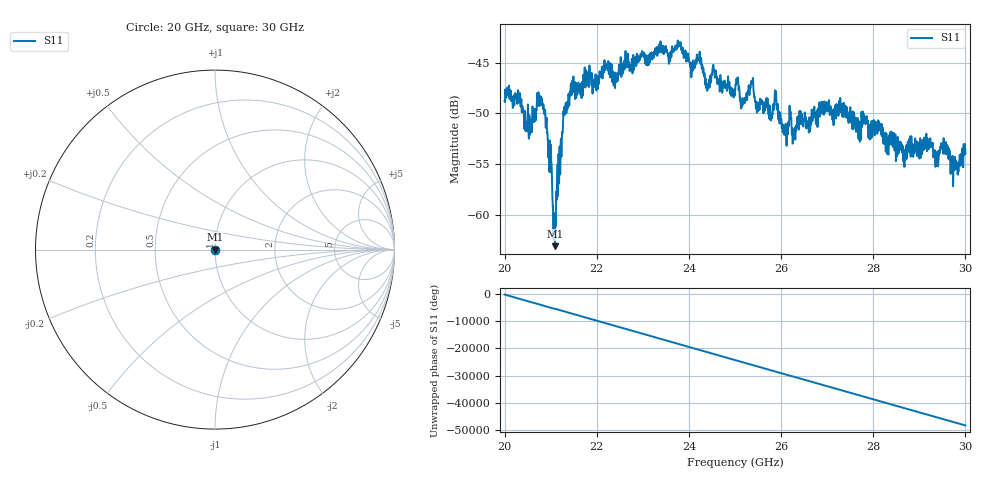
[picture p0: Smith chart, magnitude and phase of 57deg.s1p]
#  HZ  S  RI  R  50.00
! Rohde & Schwarz ZVA40 4Ports - Version 3.90 - 1145.1110k42 SN: 100403
! Date: 2023-10-03 12:03:40
! Measurement: S12
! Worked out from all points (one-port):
!   5001 points, 20 GHz to 30 GHz, reference 50 ohm
!   lowest |S11| = -63.1 dB at 21.09 GHz (marker M1), VSWR 1.00, Z = 50.1 + j0.0252 ohm
!   |S11| at or under -10 dB: start of sweep to end of sweep
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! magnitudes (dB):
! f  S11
! 20 GHz  -48.8
! 20.29 GHz  -48.0
! 20.5 GHz  -49.3
! 20.81 GHz  -48.5
! 20.96 GHz  -53.1
! 21.09 GHz  -63.1
! 21.25 GHz  -52.2
! 21.48 GHz  -47.9
! 22.5 GHz  -45.3
! 23.75 GHz  -43.3
! 24.06 GHz  -45.4
! 24.22 GHz  -44.6
! 24.4 GHz  -47.7
! 24.54 GHz  -45.6
! 25 GHz  -48.0
! 25.17 GHz  -48.6
! 25.37 GHz  -46.9
! 25.48 GHz  -49.2
! 25.77 GHz  -50.5
! 25.88 GHz  -47.8
! 26.07 GHz  -52.1
! 26.25 GHz  -52.9
! 26.99 GHz  -49.0
! 27.5 GHz  -49.5
! 28.75 GHz  -52.8
! 29.51 GHz  -53.8
! 29.78 GHz  -54.5
! 30 GHz  -54.0
